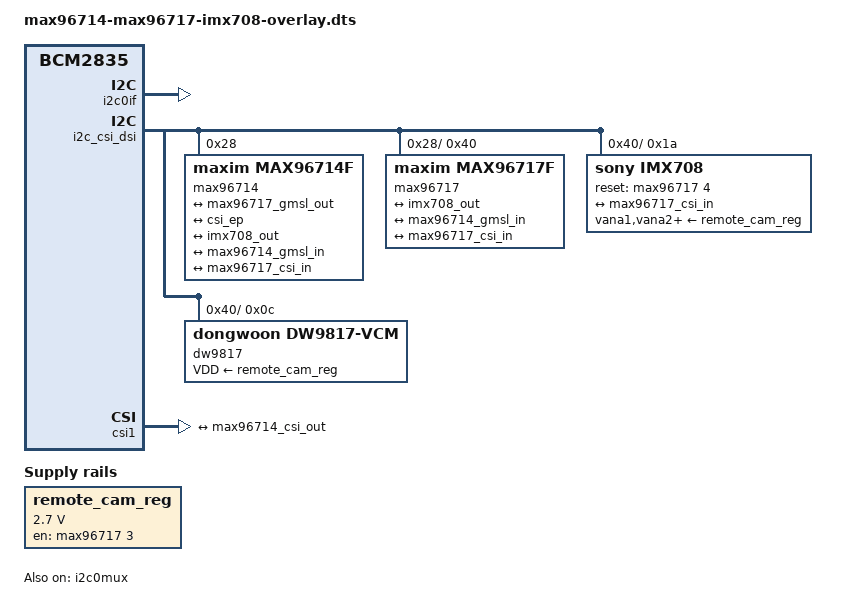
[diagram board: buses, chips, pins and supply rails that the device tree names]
// SPDX-License-Identifier: GPL-2.0-only
// MAX96714F + MAX96717F GMSL2 camera link with Sony IMX708
/dts-v1/;
/plugin/;

/ {
	compatible = "brcm,bcm2835";

	fragment@0 {
		target = <&i2c0if>;
		__overlay__ {
			status = "okay";
		};
	};

	fragment@1 {
		target = <&i2c0mux>;
		__overlay__ {
			status = "okay";
		};
	};

	i2c_frag: fragment@2 {
		target = <&i2c_csi_dsi>;
		__overlay__ {
			#address-cells = <1>;
			#size-cells = <0>;
			status = "okay";

			max96714: deserializer@28 {
				compatible = "maxim,max96714f";
				reg = <0x28>;
				status = "okay";

				ports {
					#address-cells = <1>;
					#size-cells = <0>;

					port@0 {
						reg = <0>;

						max96714_gmsl_in: endpoint {
							remote-endpoint = <&max96717_gmsl_out>;
						};
					};

					port@1 {
						reg = <1>;

						max96714_csi_out: endpoint {
							clock-lanes = <0>;
							data-lanes = <1 2>;
							link-frequencies = /bits/ 64 <450000000>;
							clock-noncontinuous;
							remote-endpoint = <&csi_ep>;
						};
					};
				};

				i2c-gate {
					#address-cells = <1>;
					#size-cells = <0>;

					max96717: serializer@40 {
						compatible = "maxim,max96717f";
						reg = <0x40>;
						gpio-controller;
						#gpio-cells = <2>;
						#clock-cells = <0>;
						status = "okay";

						ports {
							#address-cells = <1>;
							#size-cells = <0>;

							port@0 {
								reg = <0>;

								max96717_csi_in: endpoint {
									clock-lanes = <0>;
									data-lanes = <1 2>;
									clock-noncontinuous;
									remote-endpoint = <&imx708_out>;
								};
							};

							port@1 {
								reg = <1>;

								max96717_gmsl_out: endpoint {
									remote-endpoint = <&max96714_gmsl_in>;
								};
							};
						};

						i2c-gate {
							#address-cells = <1>;
							#size-cells = <0>;

							imx708: camera@1a {
								compatible = "sony,imx708";
								reg = <0x1a>;
								status = "okay";

								clocks = <&max96717>;
								clock-names = "inclk";

								/* MFP3 enables the regulators on the remote camera board. */
								vana1-supply = <&remote_cam_reg>;
								vana2-supply = <&remote_cam_reg>;
								vdig-supply = <&remote_cam_reg>;
								vddl-supply = <&remote_cam_reg>;

								/* MAX96717 MFP4 drives the IMX708 XCLR input. */
								reset-gpios = <&max96717 4 0>;
								lens-focus = <&dw9817>;
								rotation = <180>;
								orientation = <2>;

								port {
									imx708_out: endpoint {
										clock-lanes = <0>;
										data-lanes = <1 2>;
										link-frequencies = /bits/ 64 <450000000>;
										clock-noncontinuous;
										remote-endpoint = <&max96717_csi_in>;
									};
								};
							};

							dw9817: focus@c {
								compatible = "dongwoon,dw9817-vcm";
								reg = <0x0c>;
								VDD-supply = <&remote_cam_reg>;
								status = "okay";
							};
						};
					};
				};
			};
		};
	};

	csi_frag: fragment@3 {
		target = <&csi1>;
		__overlay__ {
			status = "okay";

			port {
				csi_ep: endpoint {
					clock-lanes = <0>;
					data-lanes = <1 2>;
					clock-noncontinuous;
					remote-endpoint = <&max96714_csi_out>;
				};
			};
		};
	};

	fragment@4 {
		target-path = "/";
		__overlay__ {
			remote_cam_reg: regulator-camera-remote {
				compatible = "regulator-fixed";
				regulator-name = "gmsl-imx708-camera-enable";
				regulator-min-microvolt = <2700000>;
				regulator-max-microvolt = <2700000>;
				gpio = <&max96717 3 0>;
				enable-active-high;
				startup-delay-us = <70000>;
				off-on-delay-us = <30000>;
			};
		};
	};

	__overrides__ {
		cam0 = <&i2c_frag>, "target:0=", <&i2c_csi_dsi0>,
		       <&csi_frag>, "target:0=", <&csi0>;
		rotation = <&imx708>, "rotation:0";
		orientation = <&imx708>, "orientation:0";
		cam-enable-mfp = <&remote_cam_reg>, "gpio:4";
		xclr-mfp = <&imx708>, "reset-gpios:4";
		vcm = <&dw9817>, "status",
		      <0>, "=4";
	};
};
